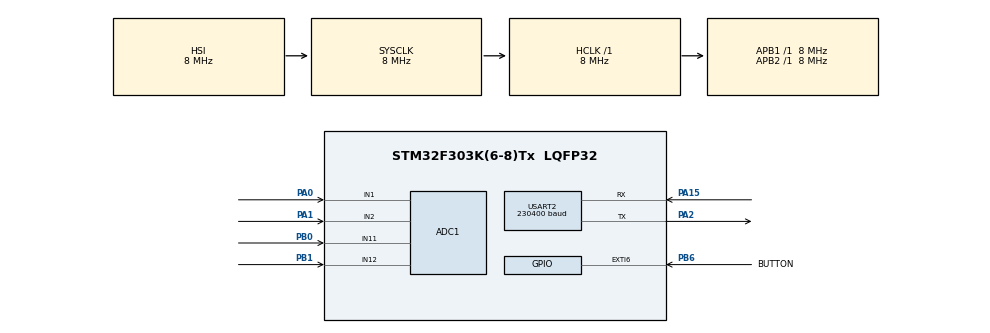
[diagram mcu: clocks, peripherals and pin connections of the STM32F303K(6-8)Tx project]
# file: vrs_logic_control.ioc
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ADC1.Channel-0\#ChannelRegularConversion=ADC_CHANNEL_11
ADC1.Channel-1\#ChannelRegularConversion=ADC_CHANNEL_12
ADC1.Channel-2\#ChannelRegularConversion=ADC_CHANNEL_1
ADC1.Channel-3\#ChannelRegularConversion=ADC_CHANNEL_2
ADC1.ContinuousConvMode=ENABLE
ADC1.DMAContinuousRequests=ENABLE
ADC1.NbrOfConversion=4
ADC1.NbrOfConversionFlag=1
ADC1.Offset-0\#ChannelRegularConversion=0
ADC1.Offset-1\#ChannelRegularConversion=0
ADC1.Offset-2\#ChannelRegularConversion=0
ADC1.Offset-3\#ChannelRegularConversion=0
ADC1.OffsetNumber-0\#ChannelRegularConversion=ADC_OFFSET_NONE
ADC1.OffsetNumber-1\#ChannelRegularConversion=ADC_OFFSET_NONE
ADC1.OffsetNumber-2\#ChannelRegularConversion=ADC_OFFSET_NONE
ADC1.OffsetNumber-3\#ChannelRegularConversion=ADC_OFFSET_NONE
ADC1.Rank-0\#ChannelRegularConversion=1
ADC1.Rank-1\#ChannelRegularConversion=2
ADC1.Rank-2\#ChannelRegularConversion=3
ADC1.Rank-3\#ChannelRegularConversion=4
ADC1.SamplingTime-0\#ChannelRegularConversion=ADC_SAMPLETIME_601CYCLES_5
ADC1.SamplingTime-1\#ChannelRegularConversion=ADC_SAMPLETIME_601CYCLES_5
ADC1.SamplingTime-2\#ChannelRegularConversion=ADC_SAMPLETIME_601CYCLES_5
ADC1.SamplingTime-3\#ChannelRegularConversion=ADC_SAMPLETIME_601CYCLES_5
ADC1.SamplingTimeOPAMP-2\#ChannelRegularConversion=ADC_SAMPLETIME_7CYCLES_5
ADC1.SamplingTimeOPAMP-3\#ChannelRegularConversion=ADC_SAMPLETIME_7CYCLES_5
ADC1.SubFamily=STM32F303x8
ADC1.master=1
Dma.ADC1.0.Direction=DMA_PERIPH_TO_MEMORY
Dma.ADC1.0.Instance=DMA1_Channel1
Dma.ADC1.0.MemDataAlignment=DMA_MDATAALIGN_WORD
Dma.ADC1.0.MemInc=DMA_MINC_ENABLE
Dma.ADC1.0.Mode=DMA_CIRCULAR
Dma.ADC1.0.PeriphDataAlignment=DMA_PDATAALIGN_WORD
Dma.ADC1.0.PeriphInc=DMA_PINC_DISABLE
Dma.ADC1.0.Priority=DMA_PRIORITY_LOW
Dma.Request0=ADC1
Dma.Request1=USART2_TX
Dma.Request2=USART2_RX
Dma.USART2_RX.2.Direction=DMA_PERIPH_TO_MEMORY
Dma.USART2_RX.2.Instance=DMA1_Channel6
Dma.USART2_RX.2.MemDataAlignment=DMA_MDATAALIGN_BYTE
Dma.USART2_RX.2.MemInc=DMA_MINC_ENABLE
Dma.USART2_RX.2.Mode=DMA_NORMAL
Dma.USART2_RX.2.PeriphDataAlignment=DMA_PDATAALIGN_BYTE
Dma.USART2_RX.2.PeriphInc=DMA_PINC_DISABLE
Dma.USART2_RX.2.Priority=DMA_PRIORITY_LOW
Dma.USART2_TX.1.Direction=DMA_MEMORY_TO_PERIPH
Dma.USART2_TX.1.Instance=DMA1_Channel7
Dma.USART2_TX.1.MemDataAlignment=DMA_MDATAALIGN_BYTE
Dma.USART2_TX.1.MemInc=DMA_MINC_ENABLE
Dma.USART2_TX.1.Mode=DMA_NORMAL
Dma.USART2_TX.1.PeriphDataAlignment=DMA_PDATAALIGN_BYTE
Dma.USART2_TX.1.PeriphInc=DMA_PINC_DISABLE
Dma.USART2_TX.1.Priority=DMA_PRIORITY_LOW
Mcu.Family=STM32F3
Mcu.Name=STM32F303K(6-8)Tx
Mcu.Package=LQFP32
NVIC.DMA1_Channel1_IRQn=true\:0\:0\:false\:false\:true\:false\:true\:true
NVIC.DMA1_Channel6_IRQn=true\:0\:0\:false\:false\:true\:false\:true\:true
NVIC.DMA1_Channel7_IRQn=true\:0\:0\:false\:false\:true\:false\:true\:true
NVIC.EXTI9_5_IRQn=true\:0\:0\:false\:false\:true\:true\:true\:true
NVIC.PriorityGroup=NVIC_PRIORITYGROUP_4
NVIC.USART2_IRQn=true\:0\:0\:false\:false\:true\:true\:true\:true
PA0.Mode=IN1-Single-Ended
PA0.Signal=ADC1_IN1
PA1.Mode=IN2-Single-Ended
PA1.Signal=ADC1_IN2
PA15.Mode=Asynchronous
PA15.Signal=USART2_RX
PA2.Mode=Asynchronous
PA2.Signal=USART2_TX
PB0.Mode=IN11-Single-Ended
PB0.Signal=ADC1_IN11
PB1.Mode=IN12-Single-Ended
PB1.Signal=ADC1_IN12
PB6.GPIO_Label=BUTTON
PB6.GPIO_ModeDefaultEXTI=GPIO_MODE_IT_RISING_FALLING
PB6.GPIO_PuPd=GPIO_PULLUP
PB6.Signal=GPXTI6
PF0\ /\ OSC_IN.Mode=HSE-External-Oscillator
PF0\ /\ OSC_IN.Signal=RCC_OSC_IN
PF1\ /\ OSC_OUT.Mode=HSE-External-Oscillator
PF1\ /\ OSC_OUT.Signal=RCC_OSC_OUT
ProjectManager.HeapSize=0x200
ProjectManager.StackSize=0x400
ProjectManager.TargetToolchain=STM32CubeIDE
RCC.AHBFreq_Value=8000000
RCC.APB1Freq_Value=8000000
RCC.APB2Freq_Value=8000000
RCC.CortexFreq_Value=8000000
RCC.HSE_VALUE=8000000
RCC.HSI_VALUE=8000000
RCC.PLLMUL=RCC_PLL_MUL4
RCC.SYSCLKFreq_VALUE=8000000
USART2.BaudRate=230400
USART2.VirtualMode-Asynchronous=VM_ASYNC
board=custom

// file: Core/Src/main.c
/* USER CODE BEGIN Header */
/**
  ******************************************************************************
  * @file           : main.c
  * @brief          : Main program body
  ******************************************************************************
  * @attention
  *
  * Copyright (c) 2022 STMicroelectronics.
  * All rights reserved.
  *
  * This software is licensed under terms that can be found in the LICENSE file
  * in the root directory of this software component.
  * If no LICENSE file comes with this software, it is provided AS-IS.
  *
  ******************************************************************************
  */
/* USER CODE END Header */
#include "main.h"
#include "adc.h"
#include "dma.h"
#include "usart.h"
#include "gpio.h"

/* USER CODE BEGIN Includes */
#include "logic_control.h"
/* USER CODE END Includes */

void SystemClock_Config(void);

/* USER CODE BEGIN 0 */
uint8_t button_interrupt_flag=0;
/* USER CODE END 0 */

int main(void)
{

  /* MCU Configuration--------------------------------------------------------*/

  /* Reset of all peripherals, Initializes the Flash interface and the Systick. */
  HAL_Init();

  /* Configure the system clock */
  SystemClock_Config();

  /* Initialize all configured peripherals */
  MX_GPIO_Init();
  MX_DMA_Init();
  MX_ADC1_Init();
  MX_USART2_UART_Init();
  /* USER CODE BEGIN 2 */
  HAL_ADC_Start_DMA(&hadc1, RC_Commands, 4); //start adc in dma mode for multichannel
  /* USER CODE END 2 */

  /* Infinite loop */
  while (1)
  {

    /* USER CODE BEGIN 3 */
	  get_and_send_data();
	  change_mode();

  }
  /* USER CODE END 3 */
}

void SystemClock_Config(void)
{
  RCC_OscInitTypeDef RCC_OscInitStruct = {0};
  RCC_ClkInitTypeDef RCC_ClkInitStruct = {0};
  RCC_PeriphCLKInitTypeDef PeriphClkInit = {0};

  /** Initializes the RCC Oscillators according to the specified parameters
  * in the RCC_OscInitTypeDef structure.
  */
  RCC_OscInitStruct.OscillatorType = RCC_OSCILLATORTYPE_HSI;
  RCC_OscInitStruct.HSIState = RCC_HSI_ON;
  RCC_OscInitStruct.HSICalibrationValue = RCC_HSICALIBRATION_DEFAULT;
  RCC_OscInitStruct.PLL.PLLState = RCC_PLL_ON;
  RCC_OscInitStruct.PLL.PLLSource = RCC_PLLSOURCE_HSI;
  RCC_OscInitStruct.PLL.PLLMUL = RCC_PLL_MUL4;
  if (HAL_RCC_OscConfig(&RCC_OscInitStruct) != HAL_OK)
  {
    Error_Handler();
  }

  /** Initializes the CPU, AHB and APB buses clocks
  */
  RCC_ClkInitStruct.ClockType = RCC_CLOCKTYPE_HCLK|RCC_CLOCKTYPE_SYSCLK
                              |RCC_CLOCKTYPE_PCLK1|RCC_CLOCKTYPE_PCLK2;
  RCC_ClkInitStruct.SYSCLKSource = RCC_SYSCLKSOURCE_HSI;
  RCC_ClkInitStruct.AHBCLKDivider = RCC_SYSCLK_DIV1;
  RCC_ClkInitStruct.APB1CLKDivider = RCC_HCLK_DIV1;
  RCC_ClkInitStruct.APB2CLKDivider = RCC_HCLK_DIV1;

  if (HAL_RCC_ClockConfig(&RCC_ClkInitStruct, FLASH_LATENCY_0) != HAL_OK)
  {
    Error_Handler();
  }
  PeriphClkInit.PeriphClockSelection = RCC_PERIPHCLK_ADC12;
  PeriphClkInit.Adc12ClockSelection = RCC_ADC12PLLCLK_DIV1;
  if (HAL_RCCEx_PeriphCLKConfig(&PeriphClkInit) != HAL_OK)
  {
    Error_Handler();
  }
}

/* USER CODE BEGIN 4 */
uint8_t prev_state=1;
uint8_t drone_mode = 0;
void change_mode(){
	if(button_interrupt_flag){
				  if(edgeDetect(BUTTON_GET_STATE, 5) == RISE) {
						  if(prev_state){
							  drone_mode = 1;
							  prev_state = 0;
						  }
						  else{
							  drone_mode = 0;
							  prev_state = 1;
						  }
						  button_interrupt_flag=0;
					  }
					  HAL_Delay(10);//delay kvoli whilu
			}
}

int counter=0;

uint8_t previous_pin_state=0;
EDGE_TYPE edgeDetect(uint8_t pin_state, uint8_t samples)
{
	if(pin_state != previous_pin_state){
		counter=1;
	}
	else{
		counter++;
	}

	if(counter == samples){
		if(pin_state) return RISE;
	}
	previous_pin_state=pin_state;
	return NONE;
}

void HAL_GPIO_EXTI_Callback(uint16_t GPIO_Pin){
	button_interrupt_flag=1;
}
/* USER CODE END 4 */

void Error_Handler(void)
{
  __disable_irq();
  while (1)
  {
  }
}
